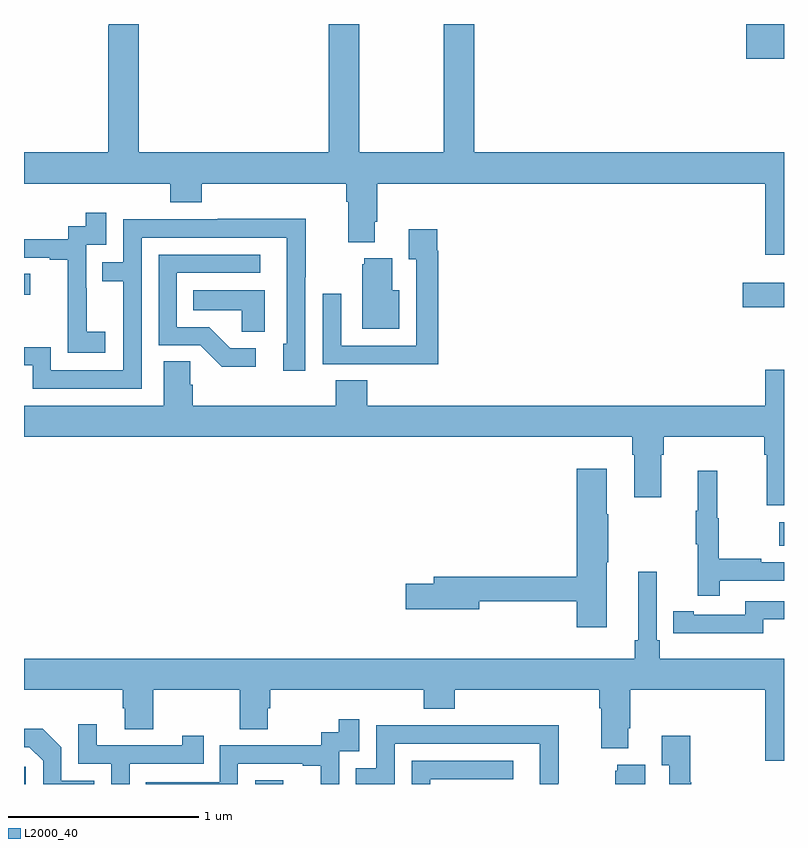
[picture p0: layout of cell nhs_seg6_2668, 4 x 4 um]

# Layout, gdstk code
import gdstk
lib = gdstk.Library(unit=1e-6, precision=1e-09)
def R(c, l, rs):  # rectangles x0, y0, x1, y1
    for r in rs: c.add(gdstk.rectangle(r[:2], r[2:], *l))
def P(c, l, *ps):  # polygons
    for p in ps: c.add(gdstk.Polygon(p, *l))
L2000_40 = (2000, 40)

nhs_seg6_2668 = lib.new_cell('nhs_seg6_2668')
R(nhs_seg6_2668, L2000_40, [(269,953.5,269.01,953.59), (270.216,953.5,270.364,953.521), (272.975,954.755,273,954.877), (272.784,956.008,273,956.137), (269,956.075,269.032,956.185), (272.802,957.317,273,957.5)])
P(nhs_seg6_2668, L2000_40, [(273,956.824),(271.37,956.824),(271.37,957.5),(271.21,957.5),(271.21,956.824),(270.765,956.824),(270.765,957.5),(270.605,957.5),(270.605,956.824),(269.603,956.824),(269.603,957.5),(269.447,957.5),(269.447,957.491),(269.443,957.491),(269.443,956.824),(269,956.824),(269,956.66),(269.771,956.66),(269.771,956.561),(269.936,956.561),(269.936,956.66),(270.695,956.66),(270.695,956.564),(270.707,956.564),(270.707,956.351),(270.847,956.351),(270.847,956.458),(270.86,956.458),(270.86,956.66),(272.9,956.66),(272.9,956.286),(273,956.286)],
  [(269.428,955.879),(269.33,955.879),(269.33,956.108),(269.328,956.108),(269.328,956.337),(269.433,956.337),(269.433,956.506),(269.325,956.506),(269.325,956.436),(269.232,956.436),(269.232,956.367),(269,956.367),(269,956.271),(269.135,956.271),(269.135,956.259),(269.231,956.259),(269.231,955.975),(269.23,955.975),(269.23,955.769),(269.428,955.769)],
  [(269.619,956.376),(270.384,956.376),(270.384,955.818),(270.365,955.818),(270.365,955.674),(270.48,955.674),(270.48,956.167),(270.483,956.167),(270.483,956.474),(270.019,956.474),(270.019,956.472),(269.523,956.472),(269.523,956.247),(269.413,956.247),(269.413,956.146),(269.523,956.146),(269.523,955.677),(269.142,955.677),(269.142,955.8),(269,955.8),(269,955.704),(269.045,955.704),(269.045,955.581),(269.619,955.581)],
  [(271.181,956.306),(271.174,956.306),(271.174,956.419),(271.025,956.419),(271.025,956.263),(271.065,956.263),(271.065,955.806),(270.669,955.806),(270.669,956.08),(270.573,956.08),(270.573,955.71),(270.889,955.71),(270.889,955.709),(271.181,955.709)],
  [(270.22,955.794),(270.085,955.794),(269.974,955.905),(269.805,955.905),(269.805,956.19),(270.244,956.19),(270.244,956.286),(269.709,956.286),(269.709,955.809),(269.928,955.809),(270.041,955.697),(270.22,955.697)],
  [(270.976,956.098),(270.937,956.098),(270.937,956.266),(270.791,956.266),(270.791,956.235),(270.779,956.235),(270.779,955.895),(270.976,955.895)],
  [(270.268,956.098),(269.89,956.098),(269.89,955.994),(270.147,955.994),(270.147,955.879),(270.268,955.879)],
  [(273,955.681),(272.9,955.681),(272.9,955.492),(270.806,955.492),(270.806,955.625),(270.641,955.625),(270.641,955.492),(269.888,955.492),(269.888,955.601),(269.874,955.601),(269.874,955.724),(269.735,955.724),(269.735,955.492),(269,955.492),(269,955.328),(272.201,955.328),(272.201,955.232),(272.213,955.232),(272.213,955.008),(272.353,955.008),(272.353,955.232),(272.366,955.232),(272.366,955.328),(272.897,955.328),(272.897,955.232),(272.909,955.232),(272.909,954.966),(273,954.966)],
  [(272.068,954.667),(272.076,954.667),(272.076,954.92),(272.068,954.92),(272.068,955.159),(271.91,955.159),(271.91,954.59),(271.157,954.59),(271.157,954.554),(271.008,954.554),(271.008,954.419),(271.396,954.419),(271.396,954.462),(271.91,954.462),(271.91,954.324),(272.068,954.324)],
  [(272.663,954.57),(273,954.57),(273,954.666),(272.879,954.666),(272.879,954.686),(272.656,954.686),(272.656,954.9),(272.648,954.9),(272.648,955.15),(272.546,955.15),(272.546,954.937),(272.535,954.937),(272.535,954.763),(272.546,954.763),(272.546,954.492),(272.663,954.492)],
  [(273,954.16),(272.345,954.16),(272.345,954.256),(272.331,954.256),(272.331,954.616),(272.234,954.616),(272.234,954.256),(272.215,954.256),(272.215,954.16),(269,954.16),(269,953.996),(269.519,953.996),(269.519,953.898),(269.531,953.898),(269.531,953.788),(269.679,953.788),(269.679,953.996),(270.136,953.996),(270.136,953.788),(270.283,953.788),(270.283,953.898),(270.296,953.898),(270.296,953.996),(271.103,953.996),(271.103,953.897),(271.268,953.897),(271.268,953.996),(272.027,953.996),(272.027,953.9),(272.039,953.9),(272.039,953.687),(272.179,953.687),(272.179,953.794),(272.192,953.794),(272.192,953.996),(272.9,953.996),(272.9,953.622),(273,953.622)],
  [(272.892,954.366),(273,954.366),(273,954.462),(272.796,954.462),(272.796,954.39),(272.524,954.39),(272.524,954.41),(272.416,954.41),(272.416,954.294),(272.524,954.294),(272.524,954.293),(272.892,954.293)],
  [(270.126,953.607),(270.467,953.607),(270.467,953.595),(270.563,953.595),(270.563,953.5),(270.66,953.5),(270.66,953.673),(270.765,953.673),(270.765,953.842),(270.657,953.842),(270.657,953.772),(270.564,953.772),(270.564,953.703),(270.03,953.703),(270.03,953.508),(269.641,953.508),(269.641,953.5),(270.126,953.5)],
  [(269.556,953.607),(269.945,953.607),(269.945,953.755),(269.834,953.755),(269.834,953.703),(269.383,953.703),(269.383,953.815),(269.286,953.815),(269.286,953.607),(269.46,953.607),(269.46,953.5),(269.556,953.5)],
  [(270.951,953.712),(271.715,953.712),(271.715,953.5),(271.812,953.5),(271.812,953.503),(271.815,953.503),(271.815,953.81),(271.351,953.81),(271.351,953.808),(270.855,953.808),(270.855,953.583),(270.745,953.583),(270.745,953.5),(270.951,953.5)],
  [(269.37,953.517),(269.196,953.517),(269.196,953.694),(269.098,953.792),(269,953.792),(269,953.694),(269.028,953.694),(269.1,953.622),(269.1,953.5),(269.37,953.5)],
  [(272.513,953.51),(272.506,953.51),(272.506,953.755),(272.357,953.755),(272.357,953.599),(272.397,953.599),(272.397,953.5),(272.513,953.5)],
  [(271.137,953.526),(271.576,953.526),(271.576,953.622),(271.041,953.622),(271.041,953.5),(271.137,953.5)],
  [(272.269,953.602),(272.123,953.602),(272.123,953.571),(272.111,953.571),(272.111,953.5),(272.269,953.5)])

lib.write_gds('nhs_seg6_2668.gds')
